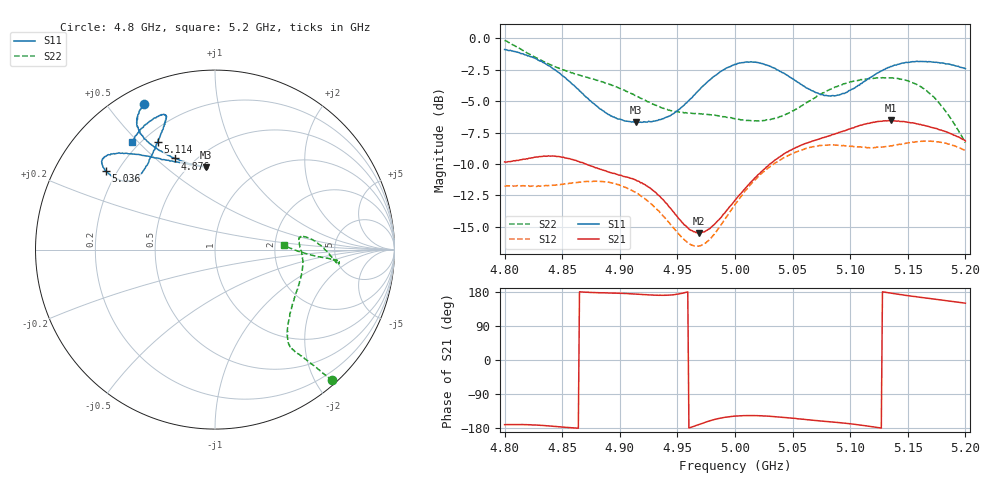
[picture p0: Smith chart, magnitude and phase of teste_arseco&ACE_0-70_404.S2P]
! Network Analyzer HP8722D
! Hewlett-Packard
! Data name: Linha & Wilkinson
! Saver's name: Rodrigo Anjos
! Comments: Teste da utilização de aquisição
! continua pelo VNA HP8722D
! Time and date: 8/5/2025 16:07
!  Frequency  S11  S21  S12  S22
# HZ  S  MA R 50
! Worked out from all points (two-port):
!   401 points, 4.8 GHz to 5.2 GHz, reference 50 ohm
!   highest |S21| = -6.54 dB at 5.135 GHz (marker M1); lowest = -15.5 dB at 4.969 GHz (marker M2)
!   |S21| within 3 dB of the highest: 4.821 GHz to 4.854 GHz (33.37 MHz wide, 0.69 % of centre); 5.037 GHz to end of sweep
!   lowest |S11| = -6.7 dB at 4.914 GHz (marker M3), VSWR 2.72, Z = 29.9 + j35 ohm
!   |S11| at or under -10 dB: nowhere
!   |S22| runs from -8.3 to -0.2 dB; largest |S21 - S12| = 0.83
!   S11 on the Smith chart (normalised r, x): 4.8 GHz: 0.07, +0.62; 4.876 GHz: 0.39, +0.58; 5.036 GHz: 0.16, +0.32; 5.114 GHz: 0.26, +0.57; 5.2 GHz: 0.17, +0.48
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4.8e9  0.9016 115.9  0.3224 -170.6  0.259 -86.2  0.9792 -48.1
4.834e9  0.7979 122.4  0.3402 -172.9  0.2588 -77.2  0.8069 -50.2
4.867e9  0.606 117.7  0.3209 179.2  0.2679 -67.8  0.7083 -52.0
4.876e9  0.5551 113.8  0.3095 178.2  0.2694 -66.9  0.6893 -52.5
4.897e9  0.4812 102.5  0.2882 176.2  0.2635 -67.2  0.6409 -50.9
4.914e9  0.4624 96.2  0.273 174.1  0.2428 -68.8  0.5908 -46.7
4.934e9  0.4746 100.0  0.237 170.6  0.2056 -70.0  0.5343 -37.0
4.958e9  0.5529 116.9  0.1782 179.0  0.1554 -58.7  0.5044 -21.1
4.969e9  0.6231 124.2  0.1684 -169.9  0.1495 -46.5  0.5014 -14.6
4.98e9  0.6934 130.0  0.1786 -158.8  0.1625 -34.1  0.4949 -9.0
5e9  0.7881 137.4  0.2269 -148.1  0.2187 -21.6  0.4783 -0.3
5.018e9  0.8025 141.7  0.2802 -146.9  0.2753 -18.9  0.4697 5.8
5.036e9  0.7511 144.2  0.3306 -149.9  0.3213 -19.1  0.4826 8.6
5.067e9  0.6179 142.1  0.3902 -158.7  0.3702 -21.4  0.57 3.7
5.088e9  0.5919 133.0  0.4186 -164.6  0.3758 -24.5  0.6415 -2.8
5.114e9  0.6803 117.8  0.4566 -173.9  0.3675 -27.3  0.6878 -6.4
5.134e9  0.7657 111.1  0.4693 177.1  0.3724 -29.6  0.6954 -5.9
5.135e9  0.7716 111.0  0.471 176.6  0.3736 -29.6  0.6956 -5.8
5.147e9  0.7971 110.1  0.466 171.1  0.3809 -32.1  0.6836 -4.9
5.164e9  0.8068 113.2  0.451 164.2  0.3901 -37.0  0.6296 -4.4
5.182e9  0.7934 120.0  0.4267 157.2  0.3833 -42.6  0.5191 -2.8
5.2e9  0.756 127.6  0.3905 150.0  0.3575 -47.4  0.3844 3.5
